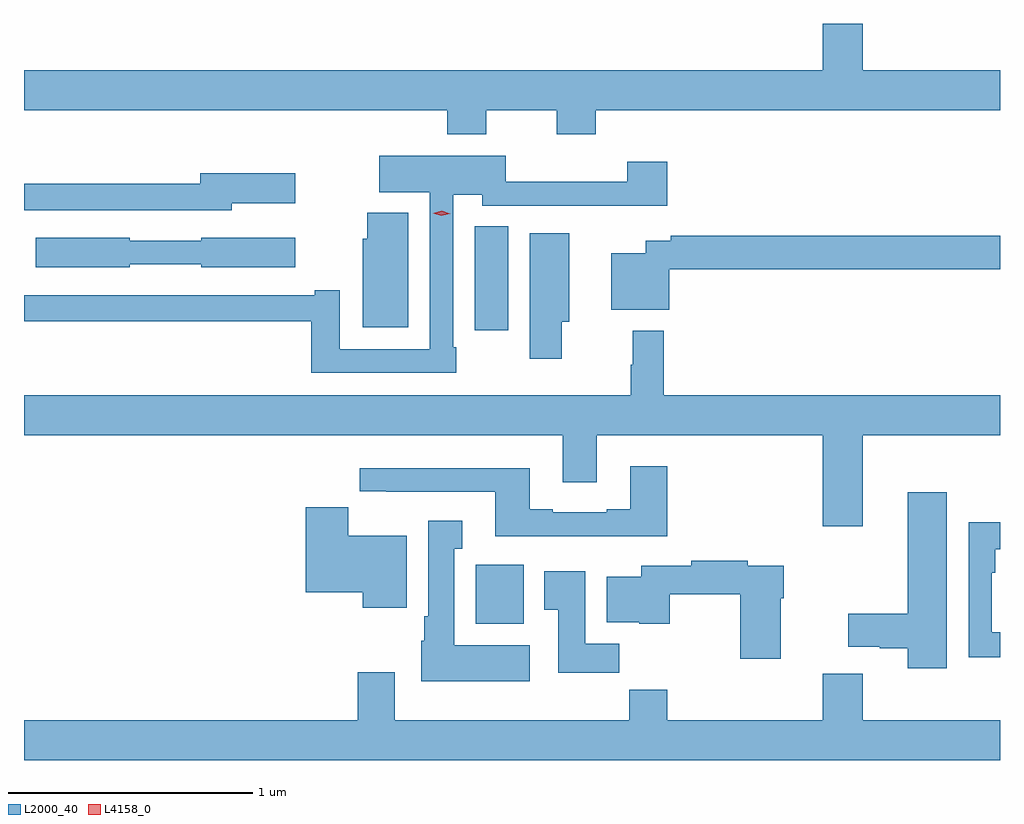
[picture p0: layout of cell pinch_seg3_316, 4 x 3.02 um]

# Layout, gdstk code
import gdstk
lib = gdstk.Library(unit=1e-6, precision=1e-09)
def R(c, l, rs):  # rectangles x0, y0, x1, y1
    for r in rs: c.add(gdstk.rectangle(r[:2], r[2:], *l))
def P(c, l, *ps):  # polygons
    for p in ps: c.add(gdstk.Polygon(p, *l))
L2000_40 = (2000, 40)
L4158_0 = (4158, 0)

pinch_seg3_316 = lib.new_cell('pinch_seg3_316')
R(pinch_seg3_316, L2000_40, [(990.758,716.126,990.955,716.368), (990.755,717.33,990.892,717.755)])
P(pinch_seg3_316, L2000_40, [(990.801,718.232),(991.09,718.232),(991.09,718.133),(991.25,718.133),(991.25,718.232),(992.907,718.232),(992.907,718.396),(992.344,718.396),(992.344,718.585),(992.18,718.585),(992.18,718.396),(988.907,718.396),(988.907,718.232),(990.641,718.232),(990.641,718.133),(990.801,718.133)],
  [(990.679,717.259),(990.666,717.259),(990.666,717.884),(990.786,717.884),(990.786,717.84),(991.295,717.84),(991.295,717.839),(991.544,717.839),(991.544,718.021),(991.379,718.021),(991.379,717.938),(990.882,717.938),(990.882,718.045),(990.363,718.045),(990.363,717.896),(990.57,717.896),(990.57,717.252),(990.201,717.252),(990.201,717.494),(990.098,717.494),(990.098,717.474),(988.907,717.474),(988.907,717.366),(990.085,717.366),(990.085,717.156),(990.679,717.156)],
  [(989.758,717.851),(990.019,717.851),(990.019,717.973),(989.63,717.973),(989.63,717.931),(988.907,717.931),(988.907,717.822),(989.758,717.822)],
  [(990.481,717.811),(990.314,717.811),(990.314,717.705),(990.296,717.705),(990.296,717.341),(990.481,717.341)],
  [(991.11,717.365),(991.141,717.365),(991.141,717.727),(990.98,717.727),(990.98,717.213),(991.11,717.213)],
  [(991.551,717.58),(992.907,717.58),(992.907,717.716),(991.558,717.716),(991.558,717.697),(991.455,717.697),(991.455,717.646),(991.313,717.646),(991.313,717.413),(991.551,717.413)],
  [(989.34,717.6),(989.634,717.6),(989.634,717.587),(990.019,717.587),(990.019,717.709),(989.634,717.709),(989.634,717.696),(989.34,717.696),(989.34,717.709),(988.956,717.709),(988.956,717.587),(989.34,717.587)],
  [(992.344,716.9),(992.907,716.9),(992.907,717.064),(991.529,717.064),(991.529,717.328),(991.401,717.328),(991.401,717.188),(991.393,717.188),(991.393,717.064),(988.907,717.064),(988.907,716.9),(991.115,716.9),(991.115,716.706),(991.255,716.706),(991.255,716.9),(992.18,716.9),(992.18,716.526),(992.344,716.526)],
  [(991.544,716.773),(991.391,716.773),(991.391,716.596),(991.295,716.596),(991.295,716.583),(991.075,716.583),(991.075,716.596),(990.979,716.596),(990.979,716.764),(990.282,716.764),(990.282,716.669),(990.391,716.669),(990.391,716.667),(990.839,716.667),(990.839,716.486),(991.544,716.486)],
  [(992.689,716.665),(992.528,716.665),(992.528,716.168),(992.286,716.168),(992.286,716.033),(992.415,716.033),(992.415,716.026),(992.528,716.026),(992.528,715.944),(992.689,715.944)],
  [(990.475,716.488),(990.235,716.488),(990.235,716.604),(990.062,716.604),(990.062,716.255),(990.296,716.255),(990.296,716.192),(990.475,716.192)],
  [(990.979,716.038),(990.67,716.038),(990.67,716.435),(990.703,716.435),(990.703,716.548),(990.563,716.548),(990.563,716.158),(990.548,716.158),(990.548,716.058),(990.536,716.058),(990.536,715.892),(990.979,715.892)],
  [(992.907,716.091),(992.874,716.091),(992.874,716.336),(992.888,716.336),(992.888,716.432),(992.907,716.432),(992.907,716.542),(992.778,716.542),(992.778,715.99),(992.907,715.99)],
  [(992.008,716.231),(992.021,716.231),(992.021,716.364),(991.874,716.364),(991.874,716.384),(991.642,716.384),(991.642,716.364),(991.436,716.364),(991.436,716.32),(991.295,716.32),(991.295,716.132),(991.428,716.132),(991.428,716.126),(991.554,716.126),(991.554,716.248),(991.843,716.248),(991.843,715.983),(992.008,715.983)],
  [(991.346,716.044),(991.207,716.044),(991.207,716.341),(991.04,716.341),(991.04,716.185),(991.097,716.185),(991.097,715.926),(991.346,715.926)],
  [(992.907,715.732),(992.344,715.732),(992.344,715.921),(992.18,715.921),(992.18,715.732),(991.544,715.732),(991.544,715.856),(991.387,715.856),(991.387,715.732),(990.427,715.732),(990.427,715.927),(990.275,715.927),(990.275,715.732),(988.907,715.732),(988.907,715.568),(992.907,715.568)])
P(pinch_seg3_316, L4158_0, [(990.618,717.799),(990.584,717.81),(990.584,717.81),(990.584,717.81),(990.619,717.819),(990.654,717.808),(990.654,717.808),(990.654,717.807)])

lib.write_gds('pinch_seg3_316.gds')
